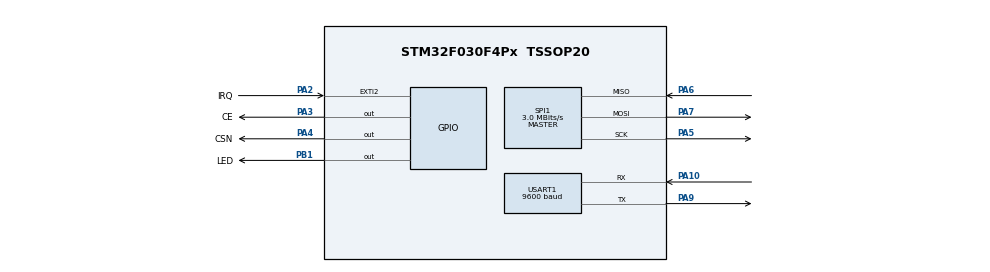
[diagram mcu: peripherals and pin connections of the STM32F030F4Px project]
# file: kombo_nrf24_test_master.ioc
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IWDG.Prescaler=IWDG_PRESCALER_32
Mcu.Family=STM32F0
Mcu.Name=STM32F030F4Px
Mcu.Package=TSSOP20
NVIC.EXTI2_3_IRQn=true\:0\:0\:false\:false\:true\:true\:true
NVIC.TIM1_CC_IRQn=true\:0\:0\:false\:false\:true\:true\:true
PA10.Mode=Asynchronous
PA10.Signal=USART1_RX
PA13.Mode=Serial_Wire
PA13.Signal=SYS_SWDIO
PA14.Mode=Serial_Wire
PA14.Signal=SYS_SWCLK
PA2.GPIO_Label=IRQ
PA2.Signal=GPXTI2
PA3.GPIO_Label=CE
PA3.Signal=GPIO_Output
PA4.GPIO_Label=CSN
PA4.Signal=GPIO_Output
PA5.Mode=Full_Duplex_Master
PA5.Signal=SPI1_SCK
PA6.Mode=Full_Duplex_Master
PA6.Signal=SPI1_MISO
PA7.Mode=Full_Duplex_Master
PA7.Signal=SPI1_MOSI
PA9.Mode=Asynchronous
PA9.Signal=USART1_TX
PB1.GPIO_Label=LED
PB1.Signal=GPIO_Output
ProjectManager.HeapSize=0x200
ProjectManager.StackSize=0x400
ProjectManager.TargetToolchain=MDK-ARM V5.32
RCC.AHBFreq_Value=48000000
RCC.APB1Freq_Value=48000000
RCC.APB1TimFreq_Value=48000000
RCC.HCLKFreq_Value=48000000
RCC.PLLMUL=RCC_PLL_MUL12
RCC.SYSCLKFreq_VALUE=48000000
RCC.SYSCLKSource=RCC_SYSCLKSOURCE_PLLCLK
SPI1.BaudRatePrescaler=SPI_BAUDRATEPRESCALER_16
SPI1.CalculateBaudRate=3.0 MBits/s
SPI1.DataSize=SPI_DATASIZE_8BIT
SPI1.Direction=SPI_DIRECTION_2LINES
SPI1.Mode=SPI_MODE_MASTER
SPI1.VirtualType=VM_MASTER
TIM1.Period=48
USART1.BaudRate=9600
USART1.VirtualMode-Asynchronous=VM_ASYNC
VP_IWDG_VS_IWDG.Mode=IWDG_Activate
VP_TIM1_VS_ClockSourceINT.Mode=Internal
board=custom

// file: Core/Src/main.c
/* USER CODE BEGIN Header */
/*
* main.c
* тестовый пример ведомого устройства с модулем NRF24L01.
* Проект "КомБО" (Открытые системы беспроводной коммуникации)
*
* Микроконтроллер: stm32f030f4p6
*
* Подключение периферии:
* NRF24L01		STM32
* CE					PA3(9)
* CSN					PA4(10)
* SCK					PA5(11)
* MOSI				PA7(13)
* MISO				PA6(12)
* IRQ					PA2(8)
*
* USART
* TX					PA9(17)
* RX					PA10(18)
*
* LED					PB1(14)
*
*   Краткое описание работы:
* При включении питания и сбросе в порт выдаются значения регистров радиомодуля
* В процессе работы устройство по кругу отправляет запросы на адреса, содержаниеся в массиве
* при получении ответа на запрос, в порт выдается адрес, с которого получен ответ
* и байт данных, полученных от него.
*
* Примечания:
* - Проект сгенерирован в STM32CubeMX, основные настройки и инициализация периферии происходит автоматически
*   по настройкам проекта
* - Для МК stm32f030f4p6 - без перемычки на BOOT (1) - старт в режиме загрузчика, можно подключиться
*   по USART и через SWD, с перемычкой - нормальная загрузка, можно подключиться только через SWD
*
* Автор: Мелехин В.Н. (MelexinVN)
*/
/* USER CODE END Header */
#include "main.h"

/* USER CODE BEGIN PV */
//объявляем переменные и массивы
char str[STRING_SIZE] = {0};						//буфер для вывода в порт
uint8_t slave_counter = 0;							//счетчик ведомых
uint8_t slave_addrs[] = ADRESS_LIST;		//массив адресов ведомых
//внешние переменные и массивы
extern volatile uint8_t f_rx, f_tx;			//флаги приема и передачи
extern uint8_t tx_buf[TX_PLOAD_WIDTH];	//буфер передачи
extern uint8_t rx_buf[TX_PLOAD_WIDTH];	//буфер приема
/* USER CODE END PV */

void SystemClock_Config(void);
static void MX_GPIO_Init(void);
static void MX_IWDG_Init(void);
static void MX_SPI1_Init(void);
static void MX_USART1_UART_Init(void);
static void MX_TIM1_Init(void);

/* USER CODE BEGIN 0 */
//Процедура вывода в порт данных из регистров радиомодуля
void nrf_info_print(void)
{
	uint8_t buf[TX_ADR_WIDTH] = {0};				//буфер для чтения адресов модуля
	uint8_t dt_reg = 0;											//переменная для чтения значения регистра

	dt_reg = nrf24_read_reg(CONFIG);							//читаем регистр CONFIG
	sprintf(str, "CONFIG: 0x%02X\r\n", dt_reg);		//
	usart_print(str);															//выводим данные в порт
	dt_reg = nrf24_read_reg(EN_AA);								//читаем регистр EN_AA
	sprintf(str, "EN_AA: 0x%02X\r\n", dt_reg);		//
	usart_print(str);															//выводим данные в порт
	dt_reg = nrf24_read_reg(EN_RXADDR);						//читаем регистр EN_RXADDR
	sprintf(str, "EN_RXADDR: 0x%02X\r\n", dt_reg);//
	usart_print(str);															//выводим данные в порт
	dt_reg = nrf24_read_reg(STATUS);							//читаем регистр STATUS
	sprintf(str, "STATUS: 0x%02X\r\n", dt_reg);		//
	usart_print(str);															//выводим данные в порт
	dt_reg = nrf24_read_reg(RF_SETUP);						//читаем регистр RF_SETUP
	sprintf(str, "RF_SETUP: 0x%02X\r\n", dt_reg);	//
	usart_print(str);															//выводим данные в порт
	nrf24_read_buf(TX_ADDR,buf,3);								//читаем буфер TX_ADDR
	sprintf(str, "TX_ADDR: 0x%02X, 0x%02X, 0x%02X\r\n", buf[0], buf[1], buf[2]);
	usart_print(str);															//выводим данные в порт
	nrf24_read_buf(RX_ADDR_P1,buf,3);							//читаем буфер RX_ADDR_P1
	sprintf(str, "RX_ADDR: 0x%02X, 0x%02X, 0x%02X\r\n", buf[0], buf[1], buf[2]);
	usart_print(str);															//выводим данные в порт
}

//Процедура моргания светодиодом
void blink_led(uint8_t blink_counter)
{
	while (blink_counter)		//пока счетчик не равен 0
	{
		LED_ON();							//включаем светодиод
		LL_mDelay(50);				//ждем
		LED_OFF();						//выключаем светодиод
		LL_mDelay(50);				//ждем
		blink_counter--;			//декрементируем счетчик
	}
}

//Процедура приема радиомодуля
void nrf24l01_receive(void)
{
	if(f_rx)	//если флаг приема поднят (флаг поднимается по внешнему прерыванию от радиомодуля)
	{
		/*ДЕЙСТВИЯ ПО ПОЛУЧЕНИЮ ОТВЕТА ОТ ВЕДОМОГО УСТРОЙСТВА*/

		//тут можно прописать действия ведущего устройства при получении
		//ответа от одного из ведомых мы определяем с какого конкретно адреса пришел ответ,
		//формируется и отправляется ответ на запрос и сообщаем об этом в порт

		//цикл по всем ведомым устройствам
		for (uint8_t i = 0; i < NUM_OF_SLAVES; i++)
		{	//если найден принятый адрес
			if (rx_buf[0] == slave_addrs[i])
			{//формируем строку для вывода в порт
				sprintf(str,"Adress 0x%02X\t data: %d\r\n",rx_buf[0],rx_buf[1]);
				usart_print(str);	//отправляем строку в порт
			}
		}
		f_rx = 0;					//опускаем флаг приема
	}
}
/* USER CODE END 0 */

int main(void)
{

  /* MCU Configuration--------------------------------------------------------*/

  /* Reset of all peripherals, Initializes the Flash interface and the Systick. */

  LL_APB1_GRP2_EnableClock(LL_APB1_GRP2_PERIPH_SYSCFG);
  LL_APB1_GRP1_EnableClock(LL_APB1_GRP1_PERIPH_PWR);

  /* System interrupt init*/
  /* SysTick_IRQn interrupt configuration */
  NVIC_SetPriority(SysTick_IRQn, 3);

  /* Configure the system clock */
  SystemClock_Config();

  /* Initialize all configured peripherals */
  MX_GPIO_Init();
  MX_IWDG_Init();
  MX_SPI1_Init();
  MX_USART1_UART_Init();
  MX_TIM1_Init();
  /* USER CODE BEGIN 2 */

	//Включаем SPI
	LL_SPI_Enable(SPI1);
	//Включаем внешнее прерывание
	LL_EXTI_EnableIT_0_31(LL_EXTI_LINE_2);
	LL_EXTI_EnableFallingTrig_0_31(LL_EXTI_LINE_2);

  usart_init(0);					//инициализируем USART
	usart_println("start");	//отправляем стартовую строку в порт
	nrf24_init();						//инициализируем радиомодуль
	nrf_info_print();

  /* USER CODE END 2 */

  /* Infinite loop */
  /* USER CODE BEGIN WHILE */
  while (1)
  {
		//отправляем запрос по очередному адресу
		tx_buf[0] = slave_addrs[slave_counter];	//записываем в буфер очередной адрес

		nrf24_send(tx_buf);						//отправляем посылку в эфир
		//запрос содержит только адрес устройства, но может содержать другую информацию размером до 32 байт

		slave_counter++;						//переходим к следующему адресу
		if (slave_counter == NUM_OF_SLAVES)		//если дошли до последнего элемента
		{
			slave_counter = 0;					//обнуляем счетчик
		}

		LL_mDelay(2);							//задержка

		//задержка необходима, чтобы ведомое устройство успело получить запрос, отправить ответ,
		//а данное ведущее устройство успело получить и обработать отет на запрос, прежде чем
		//переходить к отправке следующего

		//для достижения максимального быстродействия величину задержки необходимо подбирать наименьшей
		//экспериментально с учетом времени, затрачиваемого на остальные действия микроконтроллера

		nrf24l01_receive();		//обрабатываем прием радиомодуля

    /* USER CODE END WHILE */

    /* USER CODE BEGIN 3 */
		LL_IWDG_ReloadCounter(IWDG);//сбрасываем сторожевой таймер

  }
  /* USER CODE END 3 */
}

void SystemClock_Config(void)
{
  LL_FLASH_SetLatency(LL_FLASH_LATENCY_1);
  while(LL_FLASH_GetLatency() != LL_FLASH_LATENCY_1)
  {
  }
  LL_RCC_HSI_Enable();

   /* Wait till HSI is ready */
  while(LL_RCC_HSI_IsReady() != 1)
  {

  }
  LL_RCC_HSI_SetCalibTrimming(16);
  LL_RCC_LSI_Enable();

   /* Wait till LSI is ready */
  while(LL_RCC_LSI_IsReady() != 1)
  {

  }
  LL_RCC_PLL_ConfigDomain_SYS(LL_RCC_PLLSOURCE_HSI_DIV_2, LL_RCC_PLL_MUL_12);
  LL_RCC_PLL_Enable();

   /* Wait till PLL is ready */
  while(LL_RCC_PLL_IsReady() != 1)
  {

  }
  LL_RCC_SetAHBPrescaler(LL_RCC_SYSCLK_DIV_1);
  LL_RCC_SetAPB1Prescaler(LL_RCC_APB1_DIV_1);
  LL_RCC_SetSysClkSource(LL_RCC_SYS_CLKSOURCE_PLL);

   /* Wait till System clock is ready */
  while(LL_RCC_GetSysClkSource() != LL_RCC_SYS_CLKSOURCE_STATUS_PLL)
  {

  }
  LL_Init1msTick(48000000);
  LL_SetSystemCoreClock(48000000);
  LL_RCC_SetUSARTClockSource(LL_RCC_USART1_CLKSOURCE_PCLK1);
}

static void MX_IWDG_Init(void)
{

  LL_IWDG_Enable(IWDG);
  LL_IWDG_EnableWriteAccess(IWDG);
  LL_IWDG_SetPrescaler(IWDG, LL_IWDG_PRESCALER_32);
  LL_IWDG_SetReloadCounter(IWDG, 4095);
  while (LL_IWDG_IsReady(IWDG) != 1)
  {
  }

  LL_IWDG_ReloadCounter(IWDG);

}

static void MX_SPI1_Init(void)
{

  LL_SPI_InitTypeDef SPI_InitStruct = {0};

  LL_GPIO_InitTypeDef GPIO_InitStruct = {0};

  /* Peripheral clock enable */
  LL_APB1_GRP2_EnableClock(LL_APB1_GRP2_PERIPH_SPI1);

  LL_AHB1_GRP1_EnableClock(LL_AHB1_GRP1_PERIPH_GPIOA);
  /**SPI1 GPIO Configuration
  PA5   ------> SPI1_SCK
  PA6   ------> SPI1_MISO
  PA7   ------> SPI1_MOSI
  */
  GPIO_InitStruct.Pin = LL_GPIO_PIN_5;
  GPIO_InitStruct.Mode = LL_GPIO_MODE_ALTERNATE;
  GPIO_InitStruct.Speed = LL_GPIO_SPEED_FREQ_HIGH;
  GPIO_InitStruct.OutputType = LL_GPIO_OUTPUT_PUSHPULL;
  GPIO_InitStruct.Pull = LL_GPIO_PULL_NO;
  GPIO_InitStruct.Alternate = LL_GPIO_AF_0;
  LL_GPIO_Init(GPIOA, &GPIO_InitStruct);

  GPIO_InitStruct.Pin = LL_GPIO_PIN_6;
  GPIO_InitStruct.Mode = LL_GPIO_MODE_ALTERNATE;
  GPIO_InitStruct.Speed = LL_GPIO_SPEED_FREQ_HIGH;
  GPIO_InitStruct.OutputType = LL_GPIO_OUTPUT_PUSHPULL;
  GPIO_InitStruct.Pull = LL_GPIO_PULL_NO;
  GPIO_InitStruct.Alternate = LL_GPIO_AF_0;
  LL_GPIO_Init(GPIOA, &GPIO_InitStruct);

  GPIO_InitStruct.Pin = LL_GPIO_PIN_7;
  GPIO_InitStruct.Mode = LL_GPIO_MODE_ALTERNATE;
  GPIO_InitStruct.Speed = LL_GPIO_SPEED_FREQ_HIGH;
  GPIO_InitStruct.OutputType = LL_GPIO_OUTPUT_PUSHPULL;
  GPIO_InitStruct.Pull = LL_GPIO_PULL_NO;
  GPIO_InitStruct.Alternate = LL_GPIO_AF_0;
  LL_GPIO_Init(GPIOA, &GPIO_InitStruct);

  /* SPI1 parameter configuration*/
  SPI_InitStruct.TransferDirection = LL_SPI_FULL_DUPLEX;
  SPI_InitStruct.Mode = LL_SPI_MODE_MASTER;
  SPI_InitStruct.DataWidth = LL_SPI_DATAWIDTH_8BIT;
  SPI_InitStruct.ClockPolarity = LL_SPI_POLARITY_LOW;
  SPI_InitStruct.ClockPhase = LL_SPI_PHASE_1EDGE;
  SPI_InitStruct.NSS = LL_SPI_NSS_SOFT;
  SPI_InitStruct.BaudRate = LL_SPI_BAUDRATEPRESCALER_DIV16;
  SPI_InitStruct.BitOrder = LL_SPI_MSB_FIRST;
  SPI_InitStruct.CRCCalculation = LL_SPI_CRCCALCULATION_DISABLE;
  SPI_InitStruct.CRCPoly = 7;
  LL_SPI_Init(SPI1, &SPI_InitStruct);
  LL_SPI_SetStandard(SPI1, LL_SPI_PROTOCOL_MOTOROLA);
  LL_SPI_EnableNSSPulseMgt(SPI1);

}

static void MX_TIM1_Init(void)
{

  LL_TIM_InitTypeDef TIM_InitStruct = {0};

  /* Peripheral clock enable */
  LL_APB1_GRP2_EnableClock(LL_APB1_GRP2_PERIPH_TIM1);

  /* TIM1 interrupt Init */
  NVIC_SetPriority(TIM1_CC_IRQn, 0);
  NVIC_EnableIRQ(TIM1_CC_IRQn);

  TIM_InitStruct.Prescaler = 0;
  TIM_InitStruct.CounterMode = LL_TIM_COUNTERMODE_UP;
  TIM_InitStruct.Autoreload = 48;
  TIM_InitStruct.ClockDivision = LL_TIM_CLOCKDIVISION_DIV1;
  TIM_InitStruct.RepetitionCounter = 0;
  LL_TIM_Init(TIM1, &TIM_InitStruct);
  LL_TIM_DisableARRPreload(TIM1);
  LL_TIM_SetClockSource(TIM1, LL_TIM_CLOCKSOURCE_INTERNAL);
  LL_TIM_SetTriggerOutput(TIM1, LL_TIM_TRGO_RESET);
  LL_TIM_DisableMasterSlaveMode(TIM1);

}

static void MX_USART1_UART_Init(void)
{

  LL_USART_InitTypeDef USART_InitStruct = {0};

  LL_GPIO_InitTypeDef GPIO_InitStruct = {0};

  /* Peripheral clock enable */
  LL_APB1_GRP2_EnableClock(LL_APB1_GRP2_PERIPH_USART1);

  LL_AHB1_GRP1_EnableClock(LL_AHB1_GRP1_PERIPH_GPIOA);
  /**USART1 GPIO Configuration
  PA9   ------> USART1_TX
  PA10   ------> USART1_RX
  */
  GPIO_InitStruct.Pin = LL_GPIO_PIN_9;
  GPIO_InitStruct.Mode = LL_GPIO_MODE_ALTERNATE;
  GPIO_InitStruct.Speed = LL_GPIO_SPEED_FREQ_HIGH;
  GPIO_InitStruct.OutputType = LL_GPIO_OUTPUT_PUSHPULL;
  GPIO_InitStruct.Pull = LL_GPIO_PULL_NO;
  GPIO_InitStruct.Alternate = LL_GPIO_AF_1;
  LL_GPIO_Init(GPIOA, &GPIO_InitStruct);

  GPIO_InitStruct.Pin = LL_GPIO_PIN_10;
  GPIO_InitStruct.Mode = LL_GPIO_MODE_ALTERNATE;
  GPIO_InitStruct.Speed = LL_GPIO_SPEED_FREQ_HIGH;
  GPIO_InitStruct.OutputType = LL_GPIO_OUTPUT_PUSHPULL;
  GPIO_InitStruct.Pull = LL_GPIO_PULL_NO;
  GPIO_InitStruct.Alternate = LL_GPIO_AF_1;
  LL_GPIO_Init(GPIOA, &GPIO_InitStruct);

  USART_InitStruct.BaudRate = 9600;
  USART_InitStruct.DataWidth = LL_USART_DATAWIDTH_8B;
  USART_InitStruct.StopBits = LL_USART_STOPBITS_1;
  USART_InitStruct.Parity = LL_USART_PARITY_NONE;
  USART_InitStruct.TransferDirection = LL_USART_DIRECTION_TX_RX;
  USART_InitStruct.HardwareFlowControl = LL_USART_HWCONTROL_NONE;
  USART_InitStruct.OverSampling = LL_USART_OVERSAMPLING_16;
  LL_USART_Init(USART1, &USART_InitStruct);
  LL_USART_DisableIT_CTS(USART1);
  LL_USART_ConfigAsyncMode(USART1);
  LL_USART_Enable(USART1);

}

static void MX_GPIO_Init(void)
{
  LL_EXTI_InitTypeDef EXTI_InitStruct = {0};
  LL_GPIO_InitTypeDef GPIO_InitStruct = {0};

  /* GPIO Ports Clock Enable */
  LL_AHB1_GRP1_EnableClock(LL_AHB1_GRP1_PERIPH_GPIOA);
  LL_AHB1_GRP1_EnableClock(LL_AHB1_GRP1_PERIPH_GPIOB);

  /**/
  LL_GPIO_ResetOutputPin(CE_GPIO_Port, CE_Pin);

  /**/
  LL_GPIO_ResetOutputPin(CSN_GPIO_Port, CSN_Pin);

  /**/
  LL_GPIO_ResetOutputPin(LED_GPIO_Port, LED_Pin);

  /**/
  LL_SYSCFG_SetEXTISource(LL_SYSCFG_EXTI_PORTA, LL_SYSCFG_EXTI_LINE2);

  /**/
  LL_GPIO_SetPinPull(IRQ_GPIO_Port, IRQ_Pin, LL_GPIO_PULL_NO);

  /**/
  LL_GPIO_SetPinMode(IRQ_GPIO_Port, IRQ_Pin, LL_GPIO_MODE_INPUT);

  /**/
  EXTI_InitStruct.Line_0_31 = LL_EXTI_LINE_2;
  EXTI_InitStruct.LineCommand = ENABLE;
  EXTI_InitStruct.Mode = LL_EXTI_MODE_IT;
  EXTI_InitStruct.Trigger = LL_EXTI_TRIGGER_RISING;
  LL_EXTI_Init(&EXTI_InitStruct);

  /**/
  GPIO_InitStruct.Pin = CE_Pin;
  GPIO_InitStruct.Mode = LL_GPIO_MODE_OUTPUT;
  GPIO_InitStruct.Speed = LL_GPIO_SPEED_FREQ_LOW;
  GPIO_InitStruct.OutputType = LL_GPIO_OUTPUT_PUSHPULL;
  GPIO_InitStruct.Pull = LL_GPIO_PULL_NO;
  LL_GPIO_Init(CE_GPIO_Port, &GPIO_InitStruct);

  /**/
  GPIO_InitStruct.Pin = CSN_Pin;
  GPIO_InitStruct.Mode = LL_GPIO_MODE_OUTPUT;
  GPIO_InitStruct.Speed = LL_GPIO_SPEED_FREQ_LOW;
  GPIO_InitStruct.OutputType = LL_GPIO_OUTPUT_PUSHPULL;
  GPIO_InitStruct.Pull = LL_GPIO_PULL_NO;
  LL_GPIO_Init(CSN_GPIO_Port, &GPIO_InitStruct);

  /**/
  GPIO_InitStruct.Pin = LED_Pin;
  GPIO_InitStruct.Mode = LL_GPIO_MODE_OUTPUT;
  GPIO_InitStruct.Speed = LL_GPIO_SPEED_FREQ_LOW;
  GPIO_InitStruct.OutputType = LL_GPIO_OUTPUT_PUSHPULL;
  GPIO_InitStruct.Pull = LL_GPIO_PULL_NO;
  LL_GPIO_Init(LED_GPIO_Port, &GPIO_InitStruct);

  /* EXTI interrupt init*/
  NVIC_SetPriority(EXTI2_3_IRQn, 0);
  NVIC_EnableIRQ(EXTI2_3_IRQn);

}

/* USER CODE BEGIN 4 */
void TIM1_Callback(void)
{
	if(LL_TIM_IsActiveFlag_UPDATE(TIM1))			//если флаг прерывания таймера поднят
	{
		LL_TIM_ClearFlag_UPDATE(TIM1);					//опускаем флаг прерывания
	}
}

/* USER CODE END 4 */

void Error_Handler(void)
{
  __disable_irq();
  while (1)
  {
  }
}
